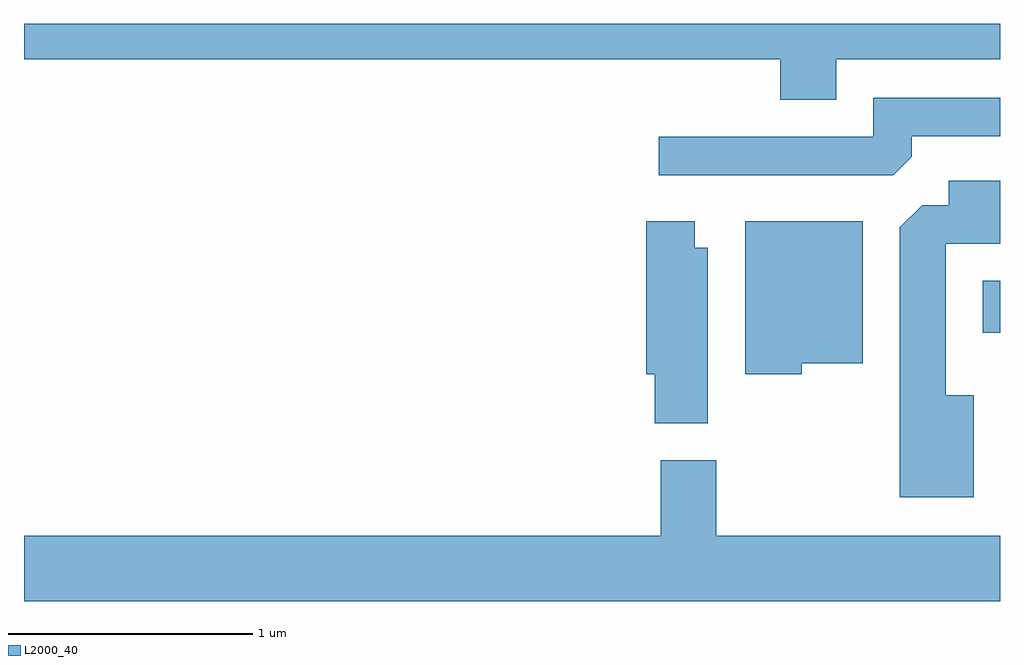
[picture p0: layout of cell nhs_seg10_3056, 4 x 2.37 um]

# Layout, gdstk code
import gdstk
lib = gdstk.Library(unit=1e-6, precision=1e-09)
def R(c, l, rs):  # rectangles x0, y0, x1, y1
    for r in rs: c.add(gdstk.rectangle(r[:2], r[2:], *l))
def P(c, l, *ps):  # polygons
    for p in ps: c.add(gdstk.Polygon(p, *l))
L2000_40 = (2000, 40)

nhs_seg10_3056 = lib.new_cell('nhs_seg10_3056')
R(nhs_seg10_3056, L2000_40, [(279.541,2097.256,279.611,2097.469)])
P(nhs_seg10_3056, L2000_40, [(278.939,2098.376),(279.611,2098.376),(279.611,2098.522),(275.611,2098.522),(275.611,2098.376),(278.711,2098.376),(278.711,2098.211),(278.939,2098.211)],
  [(279.249,2097.977),(279.249,2098.061),(279.611,2098.061),(279.611,2098.219),(279.091,2098.219),(279.091,2098.059),(278.213,2098.059),(278.213,2097.901),(279.174,2097.901)],
  [(279.504,2096.999),(279.389,2096.999),(279.389,2097.621),(279.611,2097.621),(279.611,2097.879),(279.401,2097.879),(279.401,2097.779),(279.292,2097.779),(279.201,2097.689),(279.201,2096.581),(279.504,2096.581)],
  [(278.414,2097.604),(278.359,2097.604),(278.359,2097.714),(278.161,2097.714),(278.161,2097.086),(278.196,2097.086),(278.196,2096.886),(278.414,2096.886)],
  [(278.799,2097.131),(279.049,2097.131),(279.049,2097.714),(278.566,2097.714),(278.566,2097.086),(278.799,2097.086)],
  [(279.611,2096.424),(278.449,2096.424),(278.449,2096.734),(278.221,2096.734),(278.221,2096.424),(275.611,2096.424),(275.611,2096.156),(279.611,2096.156)])

lib.write_gds('nhs_seg10_3056.gds')
